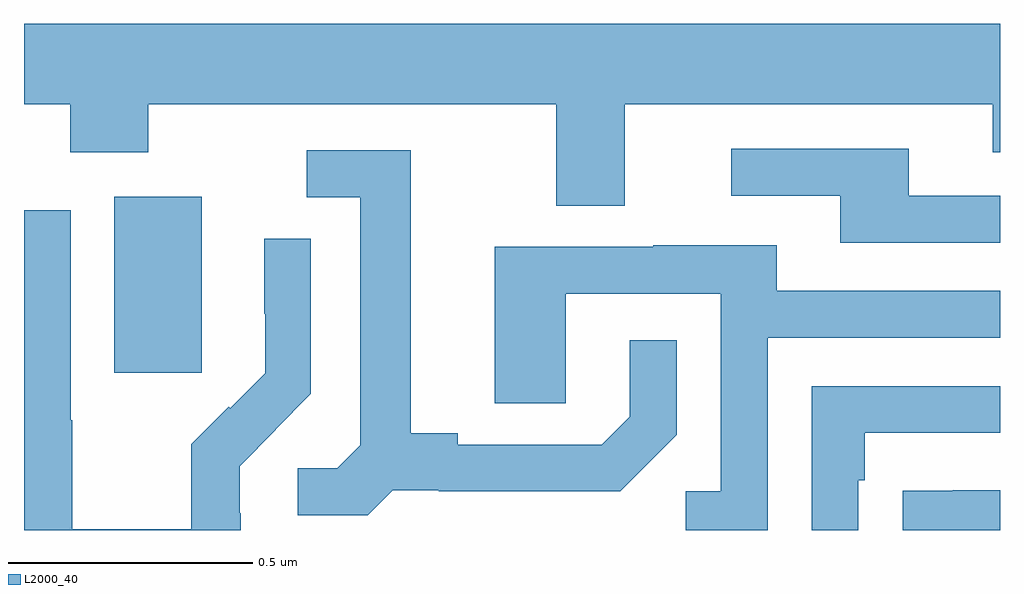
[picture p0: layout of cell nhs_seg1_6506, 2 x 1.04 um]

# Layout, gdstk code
import gdstk
lib = gdstk.Library(unit=1e-6, precision=1e-09)
def R(c, l, rs):  # rectangles x0, y0, x1, y1
    for r in rs: c.add(gdstk.rectangle(r[:2], r[2:], *l))
def P(c, l, *ps):  # polygons
    for p in ps: c.add(gdstk.Polygon(p, *l))
L2000_40 = (2000, 40)

nhs_seg1_6506 = lib.new_cell('nhs_seg1_6506')
R(nhs_seg1_6506, L2000_40, [(192.185,544.521,192.364,544.882)])
P(nhs_seg1_6506, L2000_40, [(193.231,545.072),(193.985,545.072),(193.985,544.973),(194,544.973),(194,545.236),(192,545.236),(192,545.072),(192.095,545.072),(192.095,544.973),(192.255,544.973),(192.255,545.072),(193.091,545.072),(193.091,544.864),(193.231,544.864)],
  [(194,544.884),(193.813,544.884),(193.813,544.98),(193.449,544.98),(193.449,544.884),(193.673,544.884),(193.673,544.788),(194,544.788)],
  [(192.756,544.281),(192.85,544.281),(192.85,544.278),(193.222,544.278),(193.338,544.394),(193.338,544.588),(193.241,544.588),(193.241,544.431),(193.184,544.374),(192.889,544.374),(192.889,544.397),(192.793,544.397),(192.793,544.977),(192.579,544.977),(192.579,544.881),(192.689,544.881),(192.689,544.373),(192.642,544.326),(192.561,544.326),(192.561,544.229),(192.704,544.229)],
  [(192.444,544.233),(192.442,544.233),(192.442,544.33),(192.516,544.404),(192.515,544.405),(192.588,544.478),(192.588,544.796),(192.492,544.796),(192.492,544.642),(192.494,544.642),(192.494,544.52),(192.423,544.449),(192.42,544.452),(192.343,544.375),(192.343,544.201),(192.099,544.201),(192.099,544.424),(192.096,544.424),(192.096,544.854),(192,544.854),(192,544.199),(192.444,544.199)],
  [(193.524,544.593),(194,544.593),(194,544.689),(193.543,544.689),(193.543,544.783),(193.289,544.783),(193.289,544.779),(192.965,544.779),(192.965,544.459),(193.11,544.459),(193.11,544.683),(193.428,544.683),(193.428,544.278),(193.356,544.278),(193.356,544.199),(193.524,544.199)],
  [(193.71,544.301),(193.723,544.301),(193.723,544.398),(194,544.398),(194,544.494),(193.614,544.494),(193.614,544.199),(193.71,544.199)],
  [(194,544.281),(193.903,544.281),(193.903,544.28),(193.801,544.28),(193.801,544.199),(194,544.199)])

lib.write_gds('nhs_seg1_6506.gds')
